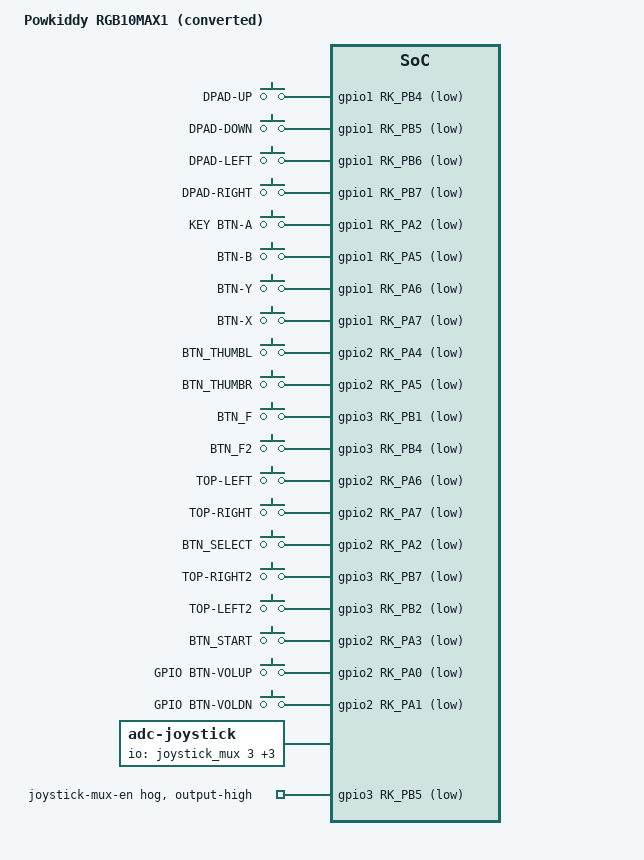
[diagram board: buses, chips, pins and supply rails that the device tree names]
// SPDX-License-Identifier: (GPL-2.0+ OR MIT)
/*
 * Powkiddy RGB10MAX1, converted from a vendor RK3326 device tree by
 * `r36os dtb import` (boot-dtb-select D12). Do not edit: import again.
 * Source: arkos4clone/boot/dArkOS/consoles/rgb10max1/rk3326-rgb10max1-linux.dtb
 * SHA-256: 12b80e25f4e4323c08c4397b00ea1cf6b9ce872db990c1e4f1faf853fb72f330
 * Note: sticks: axes from the ROCKNIX joypad mapping, not measured
 * Note: speaker gain: source spk-volume 3 ignored, the native safe value is used
 */

#include "rk3326-r36s-v5.dts"

/ {
	model = "Powkiddy RGB10MAX1 (converted)";

	lume-select {
		lume,id = "arkos4clone-rgb10max1";
		lume,priority = <0>;
		/delete-property/ lume,default;
	};

	/delete-node/ gpio-keys;
	/delete-node/ volume-keys;

	gpio-keys {
		compatible = "gpio-keys";
		pinctrl-names = "default";
		pinctrl-0 = <&btn_pins>;

		button-dpad-up {
			gpios = <&gpio1 RK_PB4 GPIO_ACTIVE_LOW>;
			label = "DPAD-UP";
			linux,code = <0x220>;
		};

		button-dpad-down {
			gpios = <&gpio1 RK_PB5 GPIO_ACTIVE_LOW>;
			label = "DPAD-DOWN";
			linux,code = <0x221>;
		};

		button-dpad-left {
			gpios = <&gpio1 RK_PB6 GPIO_ACTIVE_LOW>;
			label = "DPAD-LEFT";
			linux,code = <0x222>;
		};

		button-dpad-right {
			gpios = <&gpio1 RK_PB7 GPIO_ACTIVE_LOW>;
			label = "DPAD-RIGHT";
			linux,code = <0x223>;
		};

		button-key-btn-a {
			gpios = <&gpio1 RK_PA2 GPIO_ACTIVE_LOW>;
			label = "KEY BTN-A";
			linux,code = <0x131>;
		};

		button-btn-b {
			gpios = <&gpio1 RK_PA5 GPIO_ACTIVE_LOW>;
			label = "BTN-B";
			linux,code = <0x130>;
		};

		button-btn-y {
			gpios = <&gpio1 RK_PA6 GPIO_ACTIVE_LOW>;
			label = "BTN-Y";
			linux,code = <0x134>;
		};

		button-btn-x {
			gpios = <&gpio1 RK_PA7 GPIO_ACTIVE_LOW>;
			label = "BTN-X";
			linux,code = <0x133>;
		};

		button-btn-thumbl {
			gpios = <&gpio2 RK_PA4 GPIO_ACTIVE_LOW>;
			label = "BTN_THUMBL";
			linux,code = <0x2c2>;
		};

		button-btn-thumbr {
			gpios = <&gpio2 RK_PA5 GPIO_ACTIVE_LOW>;
			label = "BTN_THUMBR";
			linux,code = <0x2c3>;
		};

		button-btn-f {
			gpios = <&gpio3 RK_PB1 GPIO_ACTIVE_LOW>;
			label = "BTN_F";
			linux,code = <0x2c4>;
		};

		button-btn-f2 {
			gpios = <&gpio3 RK_PB4 GPIO_ACTIVE_LOW>;
			label = "BTN_F2";
			linux,code = <0x2c5>;
		};

		button-top-left {
			gpios = <&gpio2 RK_PA6 GPIO_ACTIVE_LOW>;
			label = "TOP-LEFT";
			linux,code = <0x136>;
		};

		button-top-right {
			gpios = <&gpio2 RK_PA7 GPIO_ACTIVE_LOW>;
			label = "TOP-RIGHT";
			linux,code = <0x137>;
		};

		button-btn-select {
			gpios = <&gpio2 RK_PA2 GPIO_ACTIVE_LOW>;
			label = "BTN_SELECT";
			linux,code = <0x2c0>;
		};

		button-top-right2 {
			gpios = <&gpio3 RK_PB7 GPIO_ACTIVE_LOW>;
			label = "TOP-RIGHT2";
			linux,code = <0x139>;
		};

		button-top-left2 {
			gpios = <&gpio3 RK_PB2 GPIO_ACTIVE_LOW>;
			label = "TOP-LEFT2";
			linux,code = <0x138>;
		};

		button-btn-start {
			gpios = <&gpio2 RK_PA3 GPIO_ACTIVE_LOW>;
			label = "BTN_START";
			linux,code = <0x2c1>;
		};
	};

	volume-keys {
		compatible = "gpio-keys";
		pinctrl-names = "default";
		pinctrl-0 = <&vol_pins>;
		autorepeat;

		button-gpio-btn-volup {
			gpios = <&gpio2 RK_PA0 GPIO_ACTIVE_LOW>;
			label = "GPIO BTN-VOLUP";
			linux,code = <0x73>;
		};

		button-gpio-btn-voldn {
			gpios = <&gpio2 RK_PA1 GPIO_ACTIVE_LOW>;
			label = "GPIO BTN-VOLDN";
			linux,code = <0x72>;
		};
	};

	/delete-node/ adc-joystick;

	adc-joystick {
		compatible = "adc-joystick";
		io-channels = <&joystick_mux 3>,
			      <&joystick_mux 1>,
			      <&joystick_mux 2>,
			      <&joystick_mux 0>;
		poll-interval = <10>;
		#address-cells = <1>;
		#size-cells = <0>;

		axis@0 {
			reg = <0>;
			abs-flat = <32>;
			abs-fuzz = <32>;
			abs-range = <0 1023>;
			linux,code = <ABS_RY>;
		};

		axis@1 {
			reg = <1>;
			abs-flat = <32>;
			abs-fuzz = <32>;
			abs-range = <0 1023>;
			linux,code = <ABS_RX>;
		};

		axis@2 {
			reg = <2>;
			abs-flat = <32>;
			abs-fuzz = <32>;
			abs-range = <0 1023>;
			linux,code = <ABS_Y>;
		};

		axis@3 {
			reg = <3>;
			abs-flat = <32>;
			abs-fuzz = <32>;
			abs-range = <0 1023>;
			linux,code = <ABS_X>;
		};
	};

	mux-controller {
		mux-gpios = <&gpio3 RK_PB3 GPIO_ACTIVE_LOW>,
			    <&gpio3 RK_PB0 GPIO_ACTIVE_LOW>;
	};

	adc-mux {
		io-channels = <&saradc 1>;
	};

	/delete-node/ gpio-leds;

	rk817-sound {
		simple-audio-card,hp-det-gpios = <&gpio2 RK_PC6 GPIO_ACTIVE_LOW>;
	};
};

&internal_display {
	compatible = "rocknix,generic-dsi";
	/delete-property/ vcc-supply;
	vdd-supply = <&vcc_lcd>;
	reset-gpios = <&gpio3 RK_PC0 GPIO_ACTIVE_LOW>;
	panel_description =
		"G size=69,139 delays=2,20,10,50,20 format=rgb888 lanes=2 flags=0x603",
		"M clock=27500 horizontal=480,2,10,2 vertical=854,12,2,60 default=1",
		"I seq=01 wait=5",
		"I seq=11 wait=fa",
		"I seq=ff7701000010",
		"I seq=c0e903",
		"I seq=c11102",
		"I seq=c23108",
		"I seq=cc10",
		"I seq=b0000d140d10050208081e051311a32918",
		"I seq=b1000c140c100503080720051311a42918",
		"I seq=ff7701000011",
		"I seq=b06c",
		"I seq=b143",
		"I seq=b207",
		"I seq=b380",
		"I seq=b547",
		"I seq=b785",
		"I seq=b820",
		"I seq=b910",
		"I seq=c178",
		"I seq=c378",
		"I seq=d088 wait=fa",
		"I seq=e0000002",
		"I seq=e108000a0007000900003333",
		"I seq=e20000000000000000000000000000",
		"I seq=e300003333",
		"I seq=e44444",
		"I seq=e50e60a0a01060a0a00a60a0a00c60a0a0",
		"I seq=e600003333",
		"I seq=e74444",
		"I seq=e80d60a0a00f60a0a00960a0a00b60a0a0",
		"I seq=eb0201e4e4440040",
		"I seq=ec0201",
		"I seq=edab89765401ffffffffffff10456798ba",
		"I seq=ff7701000000",
		"I seq=3a70",
		"I seq=53ec",
		"I seq=55b3",
		"I seq=5eff",
		"I seq=29 wait=32";
};

&dsi {
	rockchip,lane-rate = <366>;
};

&backlight {
	pwms = <&pwm1 0 40000 0>;
	/delete-property/ num-interpolated-steps;
	brightness-levels = <0 1 2 3 4 5 6 7 8 9 10 11 12 13 14 15 16 17 18 19 20 21 22 23 24 25 26 27 28 29 30 31 32 33 34 35 36 37 38 39 40 41 42 43 44 45 46 47 48 49 50 51 52 53 54 55 56 57 58 59 60 61 62 63 64 65 66 67 68 69 70 71 72 73 74 75 76 77 78 79 80 81 82 83 84 85 86 87 88 89 90 91 92 93 94 95 96 97 98 99 100 101 102 103 104 105 106 107 108 109 110 111 112 113 114 115 116 117 118 119 120 121 122 123 124 125 126 127 128 129 130 131 132 133 134 135 136 137 138 139 140 141 142 143 144 145 146 147 148 149 150 151 152 153 154 155 156 157 158 159 160 161 162 163 164 165 166 167 168 169 170 171 172 173 174 175 176 177 178 179 180 181 182 183 184 185 186 187 188 189 190 191 192 193 194 195 196 197 198 199 200 201 202 203 204 205 206 207 208 209 210 211 212 213 215 215 216 217 218 219 220 221 222 223 224 225 226 227 228 229 230 231 232 233 234 235 236 237 238 239 240 241 242 243 244 245 246 247 249 249 250>;
	default-brightness-level = <125>;
};

&battery {
	charge-full-design-microamp-hours = <4000000>;
	voltage-max-design-microvolt = <4046000>;
	voltage-min-design-microvolt = <3300000>;
	ocv-capacity-table-0 = <4046000 100>,
				<4001000 95>,
				<3967000 90>,
				<3940000 85>,
				<3910000 80>,
				<3870000 75>,
				<3830000 70>,
				<3790000 65>,
				<3750000 60>,
				<3720000 55>,
				<3690000 50>,
				<3650000 45>,
				<3610000 40>,
				<3570000 35>,
				<3540000 30>,
				<3500000 25>,
				<3460000 20>,
				<3420000 15>,
				<3380000 10>,
				<3340000 5>,
				<3300000 0>;
};

&spk_amp {
	/delete-property/ enable-gpios;
	/delete-property/ pinctrl-names;
	/delete-property/ pinctrl-0;
};

&rk817 {
	interrupt-parent = <&gpio0>;
	interrupts = <RK_PB2 IRQ_TYPE_LEVEL_LOW>;
};

&gpio0 {
	/delete-node/ joystick-mux-en-hog;
};

&gpio1 {
	/delete-node/ lcd-enable-hog;
};

&gpio3 {
	/delete-node/ lcd-stbyb-hog;
	joystick-mux-en-hog {
		gpio-hog;
		gpios = <RK_PB5 GPIO_ACTIVE_LOW>;
		output-high;
		line-name = "joystick-mux-en";
	};
};

&btn_pins {
	rockchip,pins =
		<1 RK_PB4 RK_FUNC_GPIO &pcfg_pull_up>,
		<1 RK_PB5 RK_FUNC_GPIO &pcfg_pull_up>,
		<1 RK_PB6 RK_FUNC_GPIO &pcfg_pull_up>,
		<1 RK_PB7 RK_FUNC_GPIO &pcfg_pull_up>,
		<1 RK_PA2 RK_FUNC_GPIO &pcfg_pull_up>,
		<1 RK_PA5 RK_FUNC_GPIO &pcfg_pull_up>,
		<1 RK_PA6 RK_FUNC_GPIO &pcfg_pull_up>,
		<1 RK_PA7 RK_FUNC_GPIO &pcfg_pull_up>,
		<2 RK_PA4 RK_FUNC_GPIO &pcfg_pull_up>,
		<2 RK_PA5 RK_FUNC_GPIO &pcfg_pull_up>,
		<3 RK_PB1 RK_FUNC_GPIO &pcfg_pull_up>,
		<3 RK_PB4 RK_FUNC_GPIO &pcfg_pull_up>,
		<2 RK_PA6 RK_FUNC_GPIO &pcfg_pull_up>,
		<2 RK_PA7 RK_FUNC_GPIO &pcfg_pull_up>,
		<2 RK_PA2 RK_FUNC_GPIO &pcfg_pull_up>,
		<3 RK_PB7 RK_FUNC_GPIO &pcfg_pull_up>,
		<3 RK_PB2 RK_FUNC_GPIO &pcfg_pull_up>,
		<2 RK_PA3 RK_FUNC_GPIO &pcfg_pull_up>;
};

&vol_pins {
	rockchip,pins =
		<2 RK_PA0 RK_FUNC_GPIO &pcfg_pull_up>,
		<2 RK_PA1 RK_FUNC_GPIO &pcfg_pull_up>;
};

&hp_det {
	rockchip,pins = <2 RK_PC6 RK_FUNC_GPIO &pcfg_pull_none>;
};

&pmic_int {
	rockchip,pins = <0 RK_PB2 RK_FUNC_GPIO &pcfg_pull_up>;
};
